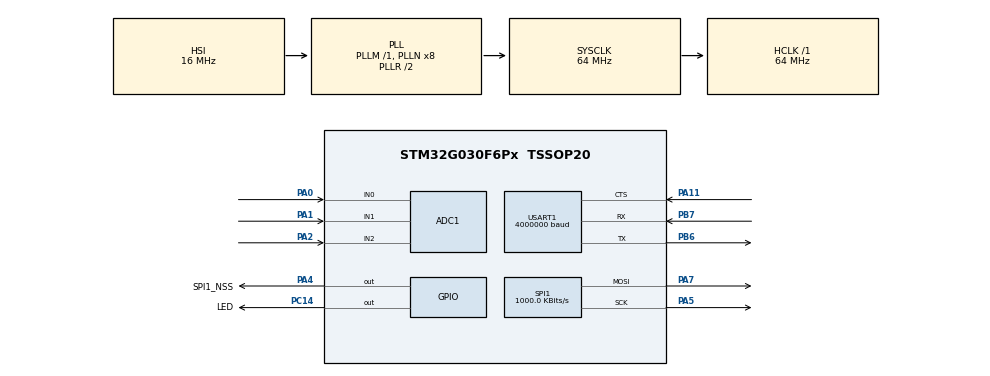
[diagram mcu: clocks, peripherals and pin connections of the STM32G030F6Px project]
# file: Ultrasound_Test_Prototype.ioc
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ADC1.Channel-0\#ChannelRegularConversion=ADC_CHANNEL_2
ADC1.ContinuousConvMode=DISABLE
ADC1.DMAContinuousRequests=ENABLE
ADC1.EOCSelection=ADC_EOC_SEQ_CONV
ADC1.ExternalTrigConv=ADC_EXTERNALTRIG_T3_TRGO
ADC1.NbrOfConversion=1
ADC1.NbrOfConversionFlag=1
ADC1.Overrun=ADC_OVR_DATA_OVERWRITTEN
ADC1.OversamplingMode=ENABLE
ADC1.Rank-0\#ChannelRegularConversion=1
ADC1.Ratio=ADC_OVERSAMPLING_RATIO_8
ADC1.RightBitShift=ADC_RIGHTBITSHIFT_3
ADC1.SamplingTime-0\#ChannelRegularConversion=ADC_SAMPLINGTIME_COMMON_1
ADC1.SelectedChannel=ADC_CHANNEL_0|ADC_CHANNEL_1|ADC_CHANNEL_2
ADC1.master=1
Dma.ADC1.0.Direction=DMA_PERIPH_TO_MEMORY
Dma.ADC1.0.EventEnable=DISABLE
Dma.ADC1.0.Instance=DMA1_Channel3
Dma.ADC1.0.MemDataAlignment=DMA_MDATAALIGN_HALFWORD
Dma.ADC1.0.MemInc=DMA_MINC_ENABLE
Dma.ADC1.0.Mode=DMA_CIRCULAR
Dma.ADC1.0.PeriphDataAlignment=DMA_PDATAALIGN_HALFWORD
Dma.ADC1.0.PeriphInc=DMA_PINC_DISABLE
Dma.ADC1.0.Polarity=HAL_DMAMUX_REQ_GEN_RISING
Dma.ADC1.0.Priority=DMA_PRIORITY_MEDIUM
Dma.ADC1.0.RequestNumber=1
Dma.ADC1.0.SignalID=NONE
Dma.ADC1.0.SyncEnable=DISABLE
Dma.ADC1.0.SyncPolarity=HAL_DMAMUX_SYNC_NO_EVENT
Dma.ADC1.0.SyncRequestNumber=1
Dma.ADC1.0.SyncSignalID=NONE
Dma.Request0=ADC1
Dma.Request1=USART1_RX
Dma.Request2=USART1_TX
Dma.USART1_RX.1.Direction=DMA_PERIPH_TO_MEMORY
Dma.USART1_RX.1.EventEnable=DISABLE
Dma.USART1_RX.1.Instance=DMA1_Channel1
Dma.USART1_RX.1.MemDataAlignment=DMA_MDATAALIGN_BYTE
Dma.USART1_RX.1.MemInc=DMA_MINC_ENABLE
Dma.USART1_RX.1.Mode=DMA_CIRCULAR
Dma.USART1_RX.1.PeriphDataAlignment=DMA_PDATAALIGN_BYTE
Dma.USART1_RX.1.PeriphInc=DMA_PINC_DISABLE
Dma.USART1_RX.1.Polarity=HAL_DMAMUX_REQ_GEN_RISING
Dma.USART1_RX.1.Priority=DMA_PRIORITY_LOW
Dma.USART1_RX.1.RequestNumber=1
Dma.USART1_RX.1.SignalID=NONE
Dma.USART1_RX.1.SyncEnable=DISABLE
Dma.USART1_RX.1.SyncPolarity=HAL_DMAMUX_SYNC_NO_EVENT
Dma.USART1_RX.1.SyncRequestNumber=1
Dma.USART1_RX.1.SyncSignalID=NONE
Dma.USART1_TX.2.Direction=DMA_MEMORY_TO_PERIPH
Dma.USART1_TX.2.EventEnable=DISABLE
Dma.USART1_TX.2.Instance=DMA1_Channel2
Dma.USART1_TX.2.MemDataAlignment=DMA_MDATAALIGN_BYTE
Dma.USART1_TX.2.MemInc=DMA_MINC_ENABLE
Dma.USART1_TX.2.Mode=DMA_NORMAL
Dma.USART1_TX.2.PeriphDataAlignment=DMA_PDATAALIGN_BYTE
Dma.USART1_TX.2.PeriphInc=DMA_PINC_DISABLE
Dma.USART1_TX.2.Polarity=HAL_DMAMUX_REQ_GEN_RISING
Dma.USART1_TX.2.Priority=DMA_PRIORITY_LOW
Dma.USART1_TX.2.RequestNumber=1
Dma.USART1_TX.2.SignalID=NONE
Dma.USART1_TX.2.SyncEnable=DISABLE
Dma.USART1_TX.2.SyncPolarity=HAL_DMAMUX_SYNC_NO_EVENT
Dma.USART1_TX.2.SyncRequestNumber=1
Dma.USART1_TX.2.SyncSignalID=NONE
Mcu.Family=STM32G0
Mcu.Name=STM32G030F6Px
Mcu.Package=TSSOP20
NVIC.ADC1_IRQn=true\:0\:0\:false\:false\:true\:true\:true\:true
NVIC.DMA1_Channel1_IRQn=true\:0\:0\:false\:false\:true\:false\:true\:true
NVIC.DMA1_Channel2_3_IRQn=true\:0\:0\:false\:false\:true\:false\:true\:true
NVIC.USART1_IRQn=true\:0\:0\:false\:false\:true\:true\:true\:true
PA0.Mode=IN0
PA0.Signal=ADC1_IN0
PA1.Mode=IN1
PA1.Signal=ADC1_IN1
PA11\ [PA9].Mode=CTS_Only
PA11\ [PA9].Signal=USART1_CTS
PA13.Mode=Serial_Wire
PA13.Signal=SYS_SWDIO
PA14-BOOT0.Mode=Serial_Wire
PA14-BOOT0.Signal=SYS_SWCLK
PA14-BOOT0__PA15.StandardMode=true
PA2.Mode=IN2
PA2.Signal=ADC1_IN2
PA4.GPIO_Label=SPI1_NSS
PA4.GPIO_Speed=GPIO_SPEED_FREQ_HIGH
PA4.PinState=GPIO_PIN_SET
PA4.Signal=GPIO_Output
PA5.Mode=TX_Only_Simplex_Unidirect_Master
PA5.Signal=SPI1_SCK
PA7.Mode=TX_Only_Simplex_Unidirect_Master
PA7.Signal=SPI1_MOSI
PB0__PB1__PB2__PA8.StandardMode=true
PB3__PB4__PB5__PB6.StandardMode=true
PB6.Mode=Asynchronous
PB6.Signal=USART1_TX
PB7.Mode=Asynchronous
PB7.Signal=USART1_RX
PB7__PB8.StandardMode=true
PC14-OSC32_IN\ (PC14).GPIO_Label=LED
PC14-OSC32_IN\ (PC14).Signal=GPIO_Output
PC14-OSC32_IN\ (PC14)__PB9.StandardMode=true
ProjectManager.HeapSize=0x200
ProjectManager.StackSize=0x400
ProjectManager.TargetToolchain=STM32CubeIDE
RCC.ADCFreq_Value=64000000
RCC.AHBFreq_Value=64000000
RCC.CortexFreq_Value=64000000
RCC.EXTERNAL_CLOCK_VALUE=12288000
RCC.HCLKFreq_Value=64000000
RCC.HSE_VALUE=8000000
RCC.HSI_VALUE=16000000
RCC.LSE_VALUE=32768
RCC.SYSCLKFreq_VALUE=64000000
RCC.SYSCLKSource=RCC_SYSCLKSOURCE_PLLCLK
RCC.VCOOutputFreq_Value=128000000
SPI1.BaudRatePrescaler=SPI_BAUDRATEPRESCALER_64
SPI1.CalculateBaudRate=1000.0 KBits/s
SPI1.Direction=SPI_DIRECTION_2LINES
SPI1.FirstBit=SPI_FIRSTBIT_LSB
SPI1.Mode=SPI_MODE_MASTER
SPI1.VirtualType=VM_MASTER
TIM3.AutoReloadPreload=TIM_AUTORELOAD_PRELOAD_ENABLE
TIM3.Channel-PWM\ Generation1\ No\ Output=TIM_CHANNEL_1
TIM3.Period=399
TIM3.Prescaler=0
TIM3.TIM_MasterOutputTrigger=TIM_TRGO_UPDATE
USART1.BaudRate=4000000
USART1.OverSampling=UART_OVERSAMPLING_16
USART1.VirtualMode-Asynchronous=VM_ASYNC
USART1.WordLength=WORDLENGTH_8B
VP_TIM3_VS_no_output1.Mode=PWM Generation1 No Output
board=custom

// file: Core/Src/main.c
/* USER CODE BEGIN Header */
/**
  ******************************************************************************
  * @file           : main.c
  * @brief          : Main program body
  ******************************************************************************
  * @attention
  *
  * Copyright (c) 2024 STMicroelectronics.
  * All rights reserved.
  *
  * This software is licensed under terms that can be found in the LICENSE file
  * in the root directory of this software component.
  * If no LICENSE file comes with this software, it is provided AS-IS.
  *
  ******************************************************************************
  */
/* USER CODE END Header */
#include "main.h"

/* USER CODE BEGIN Includes */
#include <stdio.h>
#include <stdbool.h>
#include <stdlib.h>
/* USER CODE END Includes */

/* USER CODE BEGIN PD */
#ifdef __GNUC__
#define PUTCHAR_PROTOTYPE int __io_putchar(int ch)
#else
#define PUTCHAR_PROTOTYPE int fputc(int ch, FILE *f)
#endif

#define ADC_BUFFER_LEN 1000
#define USART_RX_BUFFER_LEN 256

#define MAX9939_SHDN (0x01 << 7)
#define MAX9939_MEAS (0x01 << 6)

#define MAX9939_VOS_NEG (0x01 << 5)
#define MAX9939_VOS_0_0MV (0x00 << 1)
#define MAX9939_VOS_1_3MV (0x01 << 1)
#define MAX9939_VOS_2_5MV (0x02 << 1)
#define MAX9939_VOS_3_8MV (0x03 << 1)
#define MAX9939_VOS_4_9MV (0x04 << 1)
#define MAX9939_VOS_6_1MV (0x05 << 1)
#define MAX9939_VOS_7_3MV (0x06 << 1)
#define MAX9939_VOS_8_4MV (0x07 << 1)
#define MAX9939_VOS_10_6MV (0x08 << 1)
#define MAX9939_VOS_11_7MV (0x09 << 1)
#define MAX9939_VOS_12_7MV (0x0A << 1)
#define MAX9939_VOS_13_7MV (0x0B << 1)
#define MAX9939_VOS_14_7MV (0x0C << 1)
#define MAX9939_VOS_15_7MV (0x0D << 1)
#define MAX9939_VOS_16_7MV (0x0E << 1)
#define MAX9939_VOS_17_6MV (0x0F << 1)

#define MAX9939_GAIN_0_25X ((0x09 << 1) | 0x01)
#define MAX9939_GAIN_1X ((0x00 << 1) | 0x01)
#define MAX9939_GAIN_10X ((0x01 << 1) | 0x01)
#define MAX9939_GAIN_20X ((0x02 << 1) | 0x01)
#define MAX9939_GAIN_30X ((0x03 << 1) | 0x01)
#define MAX9939_GAIN_40X ((0x04 << 1) | 0x01)
#define MAX9939_GAIN_60X ((0x05 << 1) | 0x01)
#define MAX9939_GAIN_80X ((0x06 << 1) | 0x01)
#define MAX9939_GAIN_120X ((0x07 << 1) | 0x01)
#define MAX9939_GAIN_157X ((0x08 << 1) | 0x01)

/* USER CODE END PD */

ADC_HandleTypeDef hadc1;
DMA_HandleTypeDef hdma_adc1;

SPI_HandleTypeDef hspi1;

TIM_HandleTypeDef htim3;

UART_HandleTypeDef huart1;
DMA_HandleTypeDef hdma_usart1_rx;
DMA_HandleTypeDef hdma_usart1_tx;

/* USER CODE BEGIN PV */
uint32_t millis = 0;
uint32_t delay_end = 0;

uint8_t usart_rx_buffer[USART_RX_BUFFER_LEN];
uint32_t usart_rx_len = 0;

struct {
	uint8_t delimeter[5];
	uint8_t pga_gain : 8;
	int8_t pga_offset : 8;
	uint8_t adc_channel : 8;
	uint32_t id : 32;
	uint8_t adc_buffer[(3 * ADC_BUFFER_LEN) / 4];
	uint8_t dummy[2];
} usart_tx_packet;

uint32_t adc_num_conversions = 0;
uint16_t adc_buffer[ADC_BUFFER_LEN];
bool adc_dma_half_complete = false;
bool adc_dma_complete = false;

struct {
	uint8_t shdn;
	uint8_t meas;
	int gain;
	int offset;
} max9939_settings;

struct {
	char shdn_ch;
	char meas_ch;
	char* gain_str;
	char offset_sign;
	char* offset_str;
} max9939_info;
/* USER CODE END PV */

void SystemClock_Config(void);
static void MX_GPIO_Init(void);
static void MX_DMA_Init(void);
static void MX_ADC1_Init(void);
static void MX_SPI1_Init(void);
static void MX_USART1_UART_Init(void);
static void MX_TIM3_Init(void);

/* USER CODE BEGIN 0 */
PUTCHAR_PROTOTYPE {
	HAL_UART_Transmit(&huart1, (uint8_t*) &ch, 1, HAL_MAX_DELAY);
	return ch;
}

void delay(uint32_t ms) {
	delay_end = millis + ms;
	while (millis < delay_end);
}

void adc_set_channel(uint32_t ch)
{
	HAL_ADC_Stop_DMA(&hadc1);
	ADC_ChannelConfTypeDef sConfig = {0};
	sConfig.Channel = ch;
	sConfig.Rank = ADC_REGULAR_RANK_1;
	sConfig.SamplingTime = ADC_SAMPLINGTIME_COMMON_1;
	if (HAL_ADC_ConfigChannel(&hadc1, &sConfig) != HAL_OK)
	{
	Error_Handler();
	}
	HAL_ADC_Start_DMA(&hadc1, (uint32_t*) adc_buffer, ADC_BUFFER_LEN);
}

void compress_12bit_data(bool first_half)
{
	uint16_t* start = first_half ? (uint16_t*) adc_buffer : (uint16_t*) &(adc_buffer[ADC_BUFFER_LEN/2]);
	uint32_t o = 0;
	for (uint32_t i = 0; i < ADC_BUFFER_LEN / 2; i+=2) {
		usart_tx_packet.adc_buffer[o] = (uint8_t) (start[i] & 0x00FF);
		o++;
		usart_tx_packet.adc_buffer[o] = (uint8_t) ((start[i] & 0x0F00) >> 8) | ((start[i+1] & 0x0F00) >> 4);
		o++;
		usart_tx_packet.adc_buffer[o] = (uint8_t) (start[i+1] & 0x00FF);
		o++;
	}
	usart_tx_packet.id++;
}

void max9939_write(uint8_t reg)
{
	HAL_GPIO_WritePin(SPI1_NSS_GPIO_Port, SPI1_NSS_Pin, GPIO_PIN_RESET);
	delay(1);
	HAL_SPI_Transmit(&hspi1, &reg, 1, HAL_MAX_DELAY);
	while (hspi1.State == HAL_SPI_STATE_BUSY);
	HAL_GPIO_WritePin(SPI1_NSS_GPIO_Port, SPI1_NSS_Pin, GPIO_PIN_SET);
	delay(1);
}

void max9939_apply_settings()
{
	max9939_write((((uint8_t) max9939_settings.gain) << 1) | 0x01);

	int tmp = max9939_settings.offset;
	if (tmp < 0) {
		tmp = -tmp;
		if (tmp >= 0 && tmp <= 15) {
			max9939_write(max9939_settings.shdn | max9939_settings.meas | ((((uint8_t) tmp) << 1) | MAX9939_VOS_NEG));
		}
	} else {
		if (tmp >= 0 && tmp <= 15) {
			max9939_write(max9939_settings.shdn | max9939_settings.meas | (((uint8_t) tmp) << 1));
		}
	}
}

/* USER CODE END 0 */

int main(void)
{

  /* MCU Configuration--------------------------------------------------------*/

  /* Reset of all peripherals, Initializes the Flash interface and the Systick. */
  HAL_Init();

  /* Configure the system clock */
  SystemClock_Config();

  /* Initialize all configured peripherals */
  MX_GPIO_Init();
  MX_DMA_Init();
  MX_ADC1_Init();
  MX_SPI1_Init();
  MX_USART1_UART_Init();
  MX_TIM3_Init();
  /* USER CODE BEGIN 2 */
  //HAL_ADC_Start_IT(&hadc1);
  HAL_TIM_PWM_Start(&htim3, TIM_CHANNEL_1);

  HAL_UART_Receive_DMA(&huart1, usart_rx_buffer, USART_RX_BUFFER_LEN);

  max9939_settings.shdn = 0x00;
  max9939_settings.meas = 0x00;
  max9939_settings.gain = 8;
  max9939_settings.offset = 10;
  max9939_apply_settings();

  for(int i = 0; i < sizeof(usart_tx_packet.delimeter); i++) { usart_tx_packet.delimeter[i] = 0xFF; }
  usart_tx_packet.id = 0;
  usart_tx_packet.adc_channel = 2;
  usart_tx_packet.pga_gain = (uint8_t) max9939_settings.gain;
  usart_tx_packet.pga_offset = (int8_t) max9939_settings.offset;

  HAL_ADC_Start_DMA(&hadc1, (uint32_t*) adc_buffer, ADC_BUFFER_LEN);

  HAL_GPIO_WritePin(LED_GPIO_Port, LED_Pin, GPIO_PIN_SET);
  /* USER CODE END 2 */

  /* Infinite loop */
  /* USER CODE BEGIN WHILE */
  int tmp;

  while (1)
  {
    /* USER CODE END WHILE */

    /* USER CODE BEGIN 3 */
	if (usart_rx_len > 0) {
		//printf("Received message: %lu\n", usart_rx_len);
		//HAL_UART_Transmit_DMA(&huart1, usart_rx_buffer, usart_rx_len); // echo
		switch (usart_rx_buffer[0]) {
		case 'S':
			max9939_settings.shdn = (usart_rx_buffer[1] == '1') ? MAX9939_SHDN : 0x00;
			max9939_apply_settings();
			break;
		case 'M':
			max9939_settings.meas = (usart_rx_buffer[1] == '1')? MAX9939_MEAS : 0x00;
			max9939_apply_settings();
			break;
		case 'G':
			usart_rx_buffer[usart_rx_len] = 0;
			tmp = atoi((char*) &(usart_rx_buffer[1]));
			if (tmp >= 0 && tmp <= 9) {
				max9939_settings.gain = tmp;
				usart_tx_packet.pga_gain = (uint8_t) max9939_settings.gain;
				max9939_apply_settings();
			}
			break;
		case 'O':
			usart_rx_buffer[usart_rx_len] = 0;
			tmp = atoi((char*) &(usart_rx_buffer[1]));
			if (tmp >= -15 && tmp <= 15) {
				max9939_settings.offset = tmp;
				usart_tx_packet.pga_offset = (int8_t) max9939_settings.offset;
				max9939_apply_settings();
			}
			break;
		case 'C':
			usart_rx_buffer[usart_rx_len] = 0;
			tmp = atoi((char*) &(usart_rx_buffer[1]));
			switch (tmp) {
			case 0:
				usart_tx_packet.adc_channel = 0;
				adc_set_channel(ADC_CHANNEL_0);
				break;
			case 1:
				usart_tx_packet.adc_channel = 1;
				adc_set_channel(ADC_CHANNEL_1);
				break;
			case 2:
				usart_tx_packet.adc_channel = 2;
				adc_set_channel(ADC_CHANNEL_2);
				break;
			}
			break;
		}
		usart_rx_len = 0;
	}

	if (adc_dma_half_complete) {
			compress_12bit_data(true);
			HAL_UART_Transmit_DMA(&huart1, (uint8_t*) &usart_tx_packet, sizeof(usart_tx_packet));
			//HAL_UART_Transmit_DMA(&huart1, (uint8_t*) adc_buffer, ADC_BUFFER_LEN);

		adc_dma_half_complete = false;
	}

	if (adc_dma_complete) {
			compress_12bit_data(false);
			HAL_UART_Transmit_DMA(&huart1, (uint8_t*) &usart_tx_packet, sizeof(usart_tx_packet));
			//HAL_UART_Transmit_DMA(&huart1, (uint8_t*) (&adc_buffer[ADC_BUFFER_LEN/2]), ADC_BUFFER_LEN);

		adc_dma_complete = false;
	}

	adc_num_conversions = 0;
  }
  /* USER CODE END 3 */
}

void SystemClock_Config(void)
{
  RCC_OscInitTypeDef RCC_OscInitStruct = {0};
  RCC_ClkInitTypeDef RCC_ClkInitStruct = {0};

  /** Configure the main internal regulator output voltage
  */
  HAL_PWREx_ControlVoltageScaling(PWR_REGULATOR_VOLTAGE_SCALE1);

  /** Initializes the RCC Oscillators according to the specified parameters
  * in the RCC_OscInitTypeDef structure.
  */
  RCC_OscInitStruct.OscillatorType = RCC_OSCILLATORTYPE_HSI;
  RCC_OscInitStruct.HSIState = RCC_HSI_ON;
  RCC_OscInitStruct.HSIDiv = RCC_HSI_DIV1;
  RCC_OscInitStruct.HSICalibrationValue = RCC_HSICALIBRATION_DEFAULT;
  RCC_OscInitStruct.PLL.PLLState = RCC_PLL_ON;
  RCC_OscInitStruct.PLL.PLLSource = RCC_PLLSOURCE_HSI;
  RCC_OscInitStruct.PLL.PLLM = RCC_PLLM_DIV1;
  RCC_OscInitStruct.PLL.PLLN = 8;
  RCC_OscInitStruct.PLL.PLLP = RCC_PLLP_DIV2;
  RCC_OscInitStruct.PLL.PLLR = RCC_PLLR_DIV2;
  if (HAL_RCC_OscConfig(&RCC_OscInitStruct) != HAL_OK)
  {
    Error_Handler();
  }

  /** Initializes the CPU, AHB and APB buses clocks
  */
  RCC_ClkInitStruct.ClockType = RCC_CLOCKTYPE_HCLK|RCC_CLOCKTYPE_SYSCLK
                              |RCC_CLOCKTYPE_PCLK1;
  RCC_ClkInitStruct.SYSCLKSource = RCC_SYSCLKSOURCE_PLLCLK;
  RCC_ClkInitStruct.AHBCLKDivider = RCC_SYSCLK_DIV1;
  RCC_ClkInitStruct.APB1CLKDivider = RCC_HCLK_DIV1;

  if (HAL_RCC_ClockConfig(&RCC_ClkInitStruct, FLASH_LATENCY_2) != HAL_OK)
  {
    Error_Handler();
  }
}

static void MX_ADC1_Init(void)
{

  ADC_ChannelConfTypeDef sConfig = {0};

  /** Configure the global features of the ADC (Clock, Resolution, Data Alignment and number of conversion)
  */
  hadc1.Instance = ADC1;
  hadc1.Init.ClockPrescaler = ADC_CLOCK_SYNC_PCLK_DIV2;
  hadc1.Init.Resolution = ADC_RESOLUTION_12B;
  hadc1.Init.DataAlign = ADC_DATAALIGN_RIGHT;
  hadc1.Init.ScanConvMode = ADC_SCAN_DISABLE;
  hadc1.Init.EOCSelection = ADC_EOC_SEQ_CONV;
  hadc1.Init.LowPowerAutoWait = DISABLE;
  hadc1.Init.LowPowerAutoPowerOff = DISABLE;
  hadc1.Init.ContinuousConvMode = DISABLE;
  hadc1.Init.NbrOfConversion = 1;
  hadc1.Init.DiscontinuousConvMode = DISABLE;
  hadc1.Init.ExternalTrigConv = ADC_EXTERNALTRIG_T3_TRGO;
  hadc1.Init.ExternalTrigConvEdge = ADC_EXTERNALTRIGCONVEDGE_RISING;
  hadc1.Init.DMAContinuousRequests = ENABLE;
  hadc1.Init.Overrun = ADC_OVR_DATA_OVERWRITTEN;
  hadc1.Init.SamplingTimeCommon1 = ADC_SAMPLETIME_1CYCLE_5;
  hadc1.Init.SamplingTimeCommon2 = ADC_SAMPLETIME_1CYCLE_5;
  hadc1.Init.OversamplingMode = ENABLE;
  hadc1.Init.Oversampling.Ratio = ADC_OVERSAMPLING_RATIO_8;
  hadc1.Init.Oversampling.RightBitShift = ADC_RIGHTBITSHIFT_3;
  hadc1.Init.Oversampling.TriggeredMode = ADC_TRIGGEREDMODE_SINGLE_TRIGGER;
  hadc1.Init.TriggerFrequencyMode = ADC_TRIGGER_FREQ_HIGH;
  if (HAL_ADC_Init(&hadc1) != HAL_OK)
  {
    Error_Handler();
  }

  /** Configure Regular Channel
  */
  sConfig.Channel = ADC_CHANNEL_2;
  sConfig.Rank = ADC_REGULAR_RANK_1;
  sConfig.SamplingTime = ADC_SAMPLINGTIME_COMMON_1;
  if (HAL_ADC_ConfigChannel(&hadc1, &sConfig) != HAL_OK)
  {
    Error_Handler();
  }
  /* USER CODE BEGIN ADC1_Init 2 */
  HAL_NVIC_SetPriority(ADC1_IRQn, 0, 0);
  HAL_NVIC_EnableIRQ(ADC1_IRQn);
  /* USER CODE END ADC1_Init 2 */

}

static void MX_SPI1_Init(void)
{

  /* SPI1 parameter configuration*/
  hspi1.Instance = SPI1;
  hspi1.Init.Mode = SPI_MODE_MASTER;
  hspi1.Init.Direction = SPI_DIRECTION_2LINES;
  hspi1.Init.DataSize = SPI_DATASIZE_8BIT;
  hspi1.Init.CLKPolarity = SPI_POLARITY_LOW;
  hspi1.Init.CLKPhase = SPI_PHASE_1EDGE;
  hspi1.Init.NSS = SPI_NSS_SOFT;
  hspi1.Init.BaudRatePrescaler = SPI_BAUDRATEPRESCALER_64;
  hspi1.Init.FirstBit = SPI_FIRSTBIT_LSB;
  hspi1.Init.TIMode = SPI_TIMODE_DISABLE;
  hspi1.Init.CRCCalculation = SPI_CRCCALCULATION_DISABLE;
  hspi1.Init.CRCPolynomial = 7;
  hspi1.Init.CRCLength = SPI_CRC_LENGTH_DATASIZE;
  hspi1.Init.NSSPMode = SPI_NSS_PULSE_ENABLE;
  if (HAL_SPI_Init(&hspi1) != HAL_OK)
  {
    Error_Handler();
  }

}

static void MX_TIM3_Init(void)
{

  TIM_MasterConfigTypeDef sMasterConfig = {0};
  TIM_OC_InitTypeDef sConfigOC = {0};

  htim3.Instance = TIM3;
  htim3.Init.Prescaler = 0;
  htim3.Init.CounterMode = TIM_COUNTERMODE_UP;
  htim3.Init.Period = 399;
  htim3.Init.ClockDivision = TIM_CLOCKDIVISION_DIV1;
  htim3.Init.AutoReloadPreload = TIM_AUTORELOAD_PRELOAD_ENABLE;
  if (HAL_TIM_PWM_Init(&htim3) != HAL_OK)
  {
    Error_Handler();
  }
  sMasterConfig.MasterOutputTrigger = TIM_TRGO_UPDATE;
  sMasterConfig.MasterSlaveMode = TIM_MASTERSLAVEMODE_DISABLE;
  if (HAL_TIMEx_MasterConfigSynchronization(&htim3, &sMasterConfig) != HAL_OK)
  {
    Error_Handler();
  }
  sConfigOC.OCMode = TIM_OCMODE_PWM1;
  sConfigOC.Pulse = 0;
  sConfigOC.OCPolarity = TIM_OCPOLARITY_HIGH;
  sConfigOC.OCFastMode = TIM_OCFAST_DISABLE;
  if (HAL_TIM_PWM_ConfigChannel(&htim3, &sConfigOC, TIM_CHANNEL_1) != HAL_OK)
  {
    Error_Handler();
  }

}

static void MX_USART1_UART_Init(void)
{

  huart1.Instance = USART1;
  huart1.Init.BaudRate = 4000000;
  huart1.Init.WordLength = UART_WORDLENGTH_8B;
  huart1.Init.StopBits = UART_STOPBITS_1;
  huart1.Init.Parity = UART_PARITY_NONE;
  huart1.Init.Mode = UART_MODE_TX_RX;
  huart1.Init.HwFlowCtl = UART_HWCONTROL_CTS;
  huart1.Init.OverSampling = UART_OVERSAMPLING_16;
  huart1.Init.OneBitSampling = UART_ONE_BIT_SAMPLE_DISABLE;
  huart1.Init.ClockPrescaler = UART_PRESCALER_DIV1;
  huart1.AdvancedInit.AdvFeatureInit = UART_ADVFEATURE_NO_INIT;
  if (HAL_UART_Init(&huart1) != HAL_OK)
  {
    Error_Handler();
  }
  if (HAL_UARTEx_SetTxFifoThreshold(&huart1, UART_TXFIFO_THRESHOLD_1_8) != HAL_OK)
  {
    Error_Handler();
  }
  if (HAL_UARTEx_SetRxFifoThreshold(&huart1, UART_RXFIFO_THRESHOLD_1_8) != HAL_OK)
  {
    Error_Handler();
  }
  if (HAL_UARTEx_DisableFifoMode(&huart1) != HAL_OK)
  {
    Error_Handler();
  }
  /* USER CODE BEGIN USART1_Init 2 */
  __HAL_UART_ENABLE_IT(&huart1, UART_IT_IDLE);
  HAL_NVIC_SetPriority(USART1_IRQn, 0, 0);
  HAL_NVIC_EnableIRQ(USART1_IRQn);
  /* USER CODE END USART1_Init 2 */

}

static void MX_DMA_Init(void)
{

  /* DMA controller clock enable */
  __HAL_RCC_DMA1_CLK_ENABLE();

  /* DMA interrupt init */
  /* DMA1_Channel1_IRQn interrupt configuration */
  HAL_NVIC_SetPriority(DMA1_Channel1_IRQn, 0, 0);
  HAL_NVIC_EnableIRQ(DMA1_Channel1_IRQn);
  /* DMA1_Channel2_3_IRQn interrupt configuration */
  HAL_NVIC_SetPriority(DMA1_Channel2_3_IRQn, 0, 0);
  HAL_NVIC_EnableIRQ(DMA1_Channel2_3_IRQn);

}

static void MX_GPIO_Init(void)
{
  GPIO_InitTypeDef GPIO_InitStruct = {0};

  /* GPIO Ports Clock Enable */
  __HAL_RCC_GPIOB_CLK_ENABLE();
  __HAL_RCC_GPIOC_CLK_ENABLE();
  __HAL_RCC_GPIOA_CLK_ENABLE();

  /*Configure GPIO pin Output Level */
  HAL_GPIO_WritePin(LED_GPIO_Port, LED_Pin, GPIO_PIN_RESET);

  /*Configure GPIO pin Output Level */
  HAL_GPIO_WritePin(SPI1_NSS_GPIO_Port, SPI1_NSS_Pin, GPIO_PIN_SET);

  /*Configure GPIO pin : LED_Pin */
  GPIO_InitStruct.Pin = LED_Pin;
  GPIO_InitStruct.Mode = GPIO_MODE_OUTPUT_PP;
  GPIO_InitStruct.Pull = GPIO_NOPULL;
  GPIO_InitStruct.Speed = GPIO_SPEED_FREQ_LOW;
  HAL_GPIO_Init(LED_GPIO_Port, &GPIO_InitStruct);

  /*Configure GPIO pin : SPI1_NSS_Pin */
  GPIO_InitStruct.Pin = SPI1_NSS_Pin;
  GPIO_InitStruct.Mode = GPIO_MODE_OUTPUT_PP;
  GPIO_InitStruct.Pull = GPIO_NOPULL;
  GPIO_InitStruct.Speed = GPIO_SPEED_FREQ_HIGH;
  HAL_GPIO_Init(SPI1_NSS_GPIO_Port, &GPIO_InitStruct);

}

/* USER CODE BEGIN 4 */
void HAL_ADC_ConvCpltCallback(ADC_HandleTypeDef* hadc)
{
	adc_num_conversions++;
	adc_dma_complete = true;
}

void HAL_ADC_ConvHalfCpltCallback(ADC_HandleTypeDef* hadc)
{
	adc_dma_half_complete = true;
}
/*
void HAL_UART_RxCpltCallback(UART_HandleTypeDef *huart)
{
	//HAL_UART_Receive_DMA(&huart1, usart_rx_buffer, 1);
	HAL_GPIO_TogglePin(LED_GPIO_Port, LED_Pin);
	usart_rx_buffer_size++;
}*/

void USART1_RxDMA_Reset(void)
{
	HAL_UART_DMAStop(&huart1);
	hdma_usart1_rx.Instance->CNDTR = 0;
	HAL_UART_Receive_DMA(&huart1, usart_rx_buffer, USART_RX_BUFFER_LEN);
}

void USART1_IDLECallback(void)
{
	HAL_GPIO_TogglePin(LED_GPIO_Port, LED_Pin);
	usart_rx_len = sizeof(usart_rx_buffer) - __HAL_DMA_GET_COUNTER(&hdma_usart1_rx);
	USART1_RxDMA_Reset();
}

/* USER CODE END 4 */

void Error_Handler(void)
{
  __disable_irq();
  while (1)
  {
  }
}
